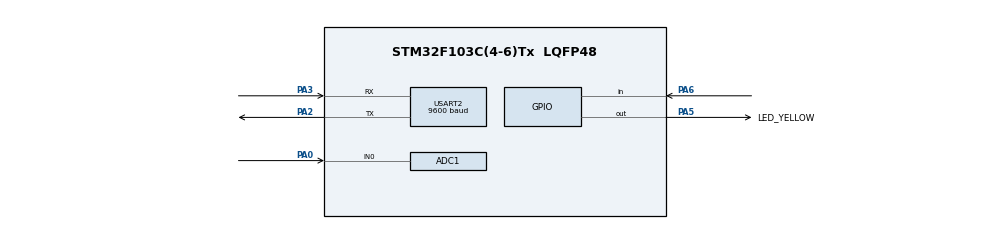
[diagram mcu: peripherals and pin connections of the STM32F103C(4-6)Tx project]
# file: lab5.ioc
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ADC1.Channel-1\#ChannelRegularConversion=ADC_CHANNEL_0
ADC1.ContinuousConvMode=ENABLE
ADC1.NbrOfConversionFlag=1
ADC1.Rank-1\#ChannelRegularConversion=1
ADC1.SamplingTime-1\#ChannelRegularConversion=ADC_SAMPLETIME_1CYCLE_5
ADC1.master=1
Mcu.Family=STM32F1
Mcu.Name=STM32F103C(4-6)Tx
Mcu.Package=LQFP48
NVIC.PriorityGroup=NVIC_PRIORITYGROUP_4
NVIC.TIM2_IRQn=true\:0\:0\:false\:false\:true\:true\:true
NVIC.USART2_IRQn=true\:0\:0\:false\:false\:true\:true\:true
PA0-WKUP.Signal=ADCx_IN0
PA2.Mode=Asynchronous
PA2.Signal=USART2_TX
PA3.Mode=Asynchronous
PA3.Signal=USART2_RX
PA5.GPIO_Label=LED_YELLOW
PA5.Signal=GPIO_Output
PA6.Signal=GPIO_Input
ProjectManager.HeapSize=0x200
ProjectManager.StackSize=0x400
ProjectManager.TargetToolchain=STM32CubeIDE
RCC.APB1Freq_Value=8000000
RCC.APB2Freq_Value=8000000
SH.ADCx_IN0.0=ADC1_IN0,IN0
TIM2.Period=9
TIM2.Prescaler=7999
USART2.BaudRate=9600
USART2.VirtualMode=VM_ASYNC
VP_SYS_VS_ND.Mode=No_Debug
VP_TIM2_VS_ClockSourceINT.Mode=Internal
board=custom

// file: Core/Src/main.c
/* USER CODE BEGIN Header */
/**
  ******************************************************************************
  * @file           : main.c
  * @brief          : Main program body
  ******************************************************************************
  * @attention
  *
  * <h2><center>&copy; Copyright (c) 2024 STMicroelectronics.
  * All rights reserved.</center></h2>
  *
  * This software component is licensed by ST under BSD 3-Clause license,
  * the "License"; You may not use this file except in compliance with the
  * License. You may obtain a copy of the License at:
  *                        opensource.org/licenses/BSD-3-Clause
  *
  ******************************************************************************
  */
/* USER CODE END Header */
#include "main.h"

/* USER CODE BEGIN Includes */
#include <stdio.h>
#include <stdlib.h>
#include <string.h>
#include "software_timer.h"
#include "auto.h"
/* USER CODE END Includes */

ADC_HandleTypeDef hadc1;

TIM_HandleTypeDef htim2;

UART_HandleTypeDef huart2;

void SystemClock_Config(void);
static void MX_GPIO_Init(void);
static void MX_ADC1_Init(void);
static void MX_USART2_UART_Init(void);
static void MX_TIM2_Init(void);

/* USER CODE BEGIN 0 */
void HAL_UART_RxCpltCallback(UART_HandleTypeDef *huart) {
    if (huart->Instance == USART2) {
        HAL_UART_Transmit(&huart2, &rx_buffer_byte, 1, 500 	);
        rx_buffer[rx_buffer_index] = rx_buffer_byte;
        rx_buffer_index++;
        if (rx_buffer_index == BUFFER_MAX_SIZE)
            rx_buffer_index = 0;
        rx_buffer_flag = 1;
        HAL_UART_Receive_IT(&huart2, &rx_buffer_byte, 1);
    }
}
/* USER CODE END 0 */

int main(void)
{

  /* MCU Configuration--------------------------------------------------------*/

  /* Reset of all peripherals, Initializes the Flash interface and the Systick. */
  HAL_Init();

  /* Configure the system clock */
  SystemClock_Config();

  /* Initialize all configured peripherals */
  MX_GPIO_Init();
  MX_ADC1_Init();
  MX_TIM2_Init();
  MX_USART2_UART_Init();
  /* USER CODE BEGIN 2 */
  HAL_TIM_Base_Start_IT(&htim2);
  HAL_UART_Receive_IT(&huart2, &rx_buffer_byte, 1);
  HAL_ADC_Start(&hadc1);
  setTimer2(50);
  /* USER CODE END 2 */

  /* Infinite loop */
  while (1)
  {
	  if (timer2_flag == 1) {
	  			HAL_GPIO_TogglePin(LED_YELLOW_GPIO_Port, LED_YELLOW_Pin);
	  			setTimer2(50);
	  }
	  if (rx_buffer_flag == 1) {
	        process_command_fsm();
	        rx_buffer_flag = 0;
	        }
	        communication_fsm();
	    }
}

void SystemClock_Config(void)
{
  RCC_OscInitTypeDef RCC_OscInitStruct = {0};
  RCC_ClkInitTypeDef RCC_ClkInitStruct = {0};
  RCC_PeriphCLKInitTypeDef PeriphClkInit = {0};

  /** Initializes the RCC Oscillators according to the specified parameters
  * in the RCC_OscInitTypeDef structure.
  */
  RCC_OscInitStruct.OscillatorType = RCC_OSCILLATORTYPE_HSI;
  RCC_OscInitStruct.HSIState = RCC_HSI_ON;
  RCC_OscInitStruct.HSICalibrationValue = RCC_HSICALIBRATION_DEFAULT;
  RCC_OscInitStruct.PLL.PLLState = RCC_PLL_NONE;
  if (HAL_RCC_OscConfig(&RCC_OscInitStruct) != HAL_OK)
  {
    Error_Handler();
  }
  /** Initializes the CPU, AHB and APB buses clocks
  */
  RCC_ClkInitStruct.ClockType = RCC_CLOCKTYPE_HCLK|RCC_CLOCKTYPE_SYSCLK
                              |RCC_CLOCKTYPE_PCLK1|RCC_CLOCKTYPE_PCLK2;
  RCC_ClkInitStruct.SYSCLKSource = RCC_SYSCLKSOURCE_HSI;
  RCC_ClkInitStruct.AHBCLKDivider = RCC_SYSCLK_DIV1;
  RCC_ClkInitStruct.APB1CLKDivider = RCC_HCLK_DIV1;
  RCC_ClkInitStruct.APB2CLKDivider = RCC_HCLK_DIV1;

  if (HAL_RCC_ClockConfig(&RCC_ClkInitStruct, FLASH_LATENCY_0) != HAL_OK)
  {
    Error_Handler();
  }
  PeriphClkInit.PeriphClockSelection = RCC_PERIPHCLK_ADC;
  PeriphClkInit.AdcClockSelection = RCC_ADCPCLK2_DIV2;
  if (HAL_RCCEx_PeriphCLKConfig(&PeriphClkInit) != HAL_OK)
  {
    Error_Handler();
  }
}

static void MX_ADC1_Init(void)
{

  ADC_ChannelConfTypeDef sConfig = {0};

  /** Common config
  */
  hadc1.Instance = ADC1;
  hadc1.Init.ScanConvMode = ADC_SCAN_DISABLE;
  hadc1.Init.ContinuousConvMode = ENABLE;
  hadc1.Init.DiscontinuousConvMode = DISABLE;
  hadc1.Init.ExternalTrigConv = ADC_SOFTWARE_START;
  hadc1.Init.DataAlign = ADC_DATAALIGN_RIGHT;
  hadc1.Init.NbrOfConversion = 1;
  if (HAL_ADC_Init(&hadc1) != HAL_OK)
  {
    Error_Handler();
  }
  /** Configure Regular Channel
  */
  sConfig.Channel = ADC_CHANNEL_0;
  sConfig.Rank = ADC_REGULAR_RANK_1;
  sConfig.SamplingTime = ADC_SAMPLETIME_1CYCLE_5;
  if (HAL_ADC_ConfigChannel(&hadc1, &sConfig) != HAL_OK)
  {
    Error_Handler();
  }

}

static void MX_TIM2_Init(void)
{

  TIM_ClockConfigTypeDef sClockSourceConfig = {0};
  TIM_MasterConfigTypeDef sMasterConfig = {0};

  htim2.Instance = TIM2;
  htim2.Init.Prescaler = 7999;
  htim2.Init.CounterMode = TIM_COUNTERMODE_UP;
  htim2.Init.Period = 9;
  htim2.Init.ClockDivision = TIM_CLOCKDIVISION_DIV1;
  htim2.Init.AutoReloadPreload = TIM_AUTORELOAD_PRELOAD_DISABLE;
  if (HAL_TIM_Base_Init(&htim2) != HAL_OK)
  {
    Error_Handler();
  }
  sClockSourceConfig.ClockSource = TIM_CLOCKSOURCE_INTERNAL;
  if (HAL_TIM_ConfigClockSource(&htim2, &sClockSourceConfig) != HAL_OK)
  {
    Error_Handler();
  }
  sMasterConfig.MasterOutputTrigger = TIM_TRGO_RESET;
  sMasterConfig.MasterSlaveMode = TIM_MASTERSLAVEMODE_DISABLE;
  if (HAL_TIMEx_MasterConfigSynchronization(&htim2, &sMasterConfig) != HAL_OK)
  {
    Error_Handler();
  }

}

static void MX_USART2_UART_Init(void)
{

  huart2.Instance = USART2;
  huart2.Init.BaudRate = 9600;
  huart2.Init.WordLength = UART_WORDLENGTH_8B;
  huart2.Init.StopBits = UART_STOPBITS_1;
  huart2.Init.Parity = UART_PARITY_NONE;
  huart2.Init.Mode = UART_MODE_TX_RX;
  huart2.Init.HwFlowCtl = UART_HWCONTROL_NONE;
  huart2.Init.OverSampling = UART_OVERSAMPLING_16;
  if (HAL_UART_Init(&huart2) != HAL_OK)
  {
    Error_Handler();
  }

}

static void MX_GPIO_Init(void)
{
  GPIO_InitTypeDef GPIO_InitStruct = {0};

  /* GPIO Ports Clock Enable */
  __HAL_RCC_GPIOA_CLK_ENABLE();

  /*Configure GPIO pin Output Level */
  HAL_GPIO_WritePin(LED_YELLOW_GPIO_Port, LED_YELLOW_Pin, GPIO_PIN_RESET);

  /*Configure GPIO pin : LED_YELLOW_Pin */
  GPIO_InitStruct.Pin = LED_YELLOW_Pin;
  GPIO_InitStruct.Mode = GPIO_MODE_OUTPUT_PP;
  GPIO_InitStruct.Pull = GPIO_NOPULL;
  GPIO_InitStruct.Speed = GPIO_SPEED_FREQ_LOW;
  HAL_GPIO_Init(LED_YELLOW_GPIO_Port, &GPIO_InitStruct);

  /*Configure GPIO pin : PA6 */
  GPIO_InitStruct.Pin = GPIO_PIN_6;
  GPIO_InitStruct.Mode = GPIO_MODE_INPUT;
  GPIO_InitStruct.Pull = GPIO_NOPULL;
  HAL_GPIO_Init(GPIOA, &GPIO_InitStruct);

}

/* USER CODE BEGIN 4 */
void HAL_TIM_PeriodElapsedCallback(TIM_HandleTypeDef *htim) {
	timerRun();
}
/* USER CODE END 4 */

void Error_Handler(void)
{
  __disable_irq();
  while (1)
  {
  }
}

/************************ (C) COPYRIGHT STMicroelectronics *****END OF FILE****/
